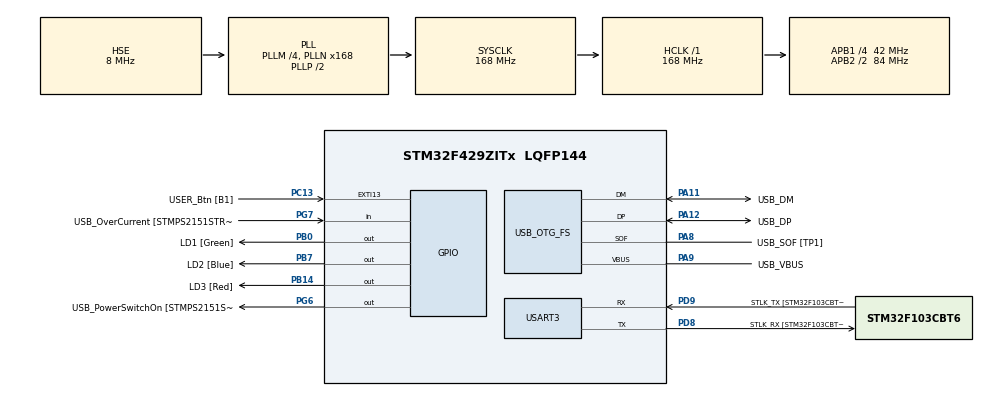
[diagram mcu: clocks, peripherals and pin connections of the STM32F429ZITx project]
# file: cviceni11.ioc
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Mcu.Family=STM32F4
Mcu.Name=STM32F429ZITx
Mcu.Package=LQFP144
NVIC.OTG_FS_IRQn=true\:0\:0\:false\:false\:true\:false\:true\:true
NVIC.PriorityGroup=NVIC_PRIORITYGROUP_4
PA1.GPIO_Label=RMII_REF_CLK [LAN8742A-CZ-TR_REFCLK0]
PA1.Signal=ETH_REF_CLK
PA10.GPIO_Label=USB_ID
PA10.Signal=USB_OTG_FS_ID
PA11.GPIO_Label=USB_DM
PA11.Mode=Device_Only
PA11.Signal=USB_OTG_FS_DM
PA12.GPIO_Label=USB_DP
PA12.Mode=Device_Only
PA12.Signal=USB_OTG_FS_DP
PA13.GPIO_Label=TMS
PA13.Mode=Serial_Wire
PA13.Signal=SYS_JTMS-SWDIO
PA14.GPIO_Label=TCK
PA14.Mode=Serial_Wire
PA14.Signal=SYS_JTCK-SWCLK
PA2.GPIO_Label=RMII_MDIO [LAN8742A-CZ-TR_MDIO]
PA2.Signal=ETH_MDIO
PA7.GPIO_Label=RMII_CRS_DV [LAN8742A-CZ-TR_CRS_DV]
PA7.Signal=ETH_CRS_DV
PA8.GPIO_Label=USB_SOF [TP1]
PA8.Mode=Activate_SOF_FS
PA8.Signal=USB_OTG_FS_SOF
PA9.GPIO_Label=USB_VBUS
PA9.Mode=Activate_VBUS
PA9.Signal=USB_OTG_FS_VBUS
PB0.GPIO_Label=LD1 [Green]
PB0.Signal=GPIO_Output
PB13.GPIO_Label=RMII_TXD1 [LAN8742A-CZ-TR_TXD1]
PB13.Signal=ETH_TXD1
PB14.GPIO_Label=LD3 [Red]
PB14.Signal=GPIO_Output
PB7.GPIO_Label=LD2 [Blue]
PB7.Signal=GPIO_Output
PC1.GPIO_Label=RMII_MDC [LAN8742A-CZ-TR_MDC]
PC1.Signal=ETH_MDC
PC13.GPIO_Label=USER_Btn [B1]
PC13.GPIO_PuPd=GPIO_NOPULL
PC13.Signal=GPXTI13
PC14/OSC32_IN.Mode=LSE-External-Oscillator
PC14/OSC32_IN.Signal=RCC_OSC32_IN
PC15/OSC32_OUT.Mode=LSE-External-Oscillator
PC15/OSC32_OUT.Signal=RCC_OSC32_OUT
PC4.GPIO_Label=RMII_RXD0 [LAN8742A-CZ-TR_RXD0]
PC4.Signal=ETH_RXD0
PC5.GPIO_Label=RMII_RXD1 [LAN8742A-CZ-TR_RXD1]
PC5.Signal=ETH_RXD1
PD8.GPIO_Label=STLK_RX [STM32F103CBT6_PA3]
PD8.Mode=Asynchronous
PD8.Signal=USART3_TX
PD9.GPIO_Label=STLK_TX [STM32F103CBT6_PA2]
PD9.Mode=Asynchronous
PD9.Signal=USART3_RX
PG11.GPIO_Label=RMII_TX_EN [LAN8742A-CZ-TR_TXEN]
PG11.Signal=ETH_TX_EN
PG13.GPIO_Label=RMII_TXD0 [LAN8742A-CZ-TR_TXD0]
PG13.Signal=ETH_TXD0
PG6.GPIO_Label=USB_PowerSwitchOn [STMPS2151STR_EN]
PG6.Signal=GPIO_Output
PG7.GPIO_Label=USB_OverCurrent [STMPS2151STR_FAULT]
PG7.Signal=GPIO_Input
PH0/OSC_IN.GPIO_Label=MCO [STM32F103CBT6_PA8]
PH0/OSC_IN.Mode=HSE-External-Clock-Source
PH0/OSC_IN.Signal=RCC_OSC_IN
PH1/OSC_OUT.Mode=HSE-External-Clock-Source
PH1/OSC_OUT.Signal=RCC_OSC_OUT
ProjectManager.HeapSize=0x200
ProjectManager.StackSize=0x400
ProjectManager.TargetToolchain=STM32CubeIDE
RCC.48MHZClocksFreq_Value=48000000
RCC.AHBFreq_Value=168000000
RCC.APB1CLKDivider=RCC_HCLK_DIV4
RCC.APB1Freq_Value=42000000
RCC.APB1TimFreq_Value=84000000
RCC.APB2CLKDivider=RCC_HCLK_DIV2
RCC.APB2Freq_Value=84000000
RCC.APB2TimCLKDivider=2
RCC.APB2TimFreq_Value=168000000
RCC.CortexFreq_Value=168000000
RCC.HCLKFreq_Value=168000000
RCC.HSE_VALUE=8000000
RCC.HSI_VALUE=16000000
RCC.PLLM=4
RCC.PLLMUL=RCC_PLL_MUL9
RCC.PLLN=168
RCC.PLLQ=7
RCC.PRESCALERUSB=RCC_USBCLKSOURCE_PLL_DIV1_5
RCC.SYSCLKFreq_VALUE=168000000
RCC.SYSCLKSource=RCC_SYSCLKSOURCE_PLLCLK
RCC.SYSCLKSourceVirtual=RCC_SYSCLKSOURCE_PLLCLK
RCC.USBFreq_Value=48000000
RCC.VCOOutputFreq_Value=336000000
USART3.VirtualMode=VM_ASYNC
USB_DEVICE.CLASS_NAME_FS=HID
USB_DEVICE.VirtualMode-HID_FS=Hid
USB_DEVICE.VirtualModeFS=Hid_FS
USB_OTG_FS.VirtualMode=Device_Only
VP_USB_DEVICE_VS_USB_DEVICE_HID_FS.Mode=HID_FS
board=NUCLEO-F429ZI

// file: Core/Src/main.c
/* USER CODE BEGIN Header */
/**
  ******************************************************************************
  * @file           : main.c
  * @brief          : Main program body
  ******************************************************************************
  * @attention
  *
  * Copyright (c) 2023 STMicroelectronics.
  * All rights reserved.
  *
  * This software is licensed under terms that can be found in the LICENSE file
  * in the root directory of this software component.
  * If no LICENSE file comes with this software, it is provided AS-IS.
  *
  ******************************************************************************
  */
/* USER CODE END Header */
#include "main.h"
#include "usb_device.h"

/* USER CODE BEGIN Includes */
#include "usbd_hid.h"
#include <math.h>
/* USER CODE END Includes */

UART_HandleTypeDef huart3;

void SystemClock_Config(void);
static void MX_GPIO_Init(void);
static void MX_USART3_UART_Init(void);

/* USER CODE BEGIN 0 */
int step(int a, int b, int click) {

	uint8_t buff[4];
	buff[0] = click; // stiskni leve tlacitko
	buff[1] = (a); // posun X +10
	buff[2] = (b); // posun Y -3
	buff[3] = 0; // bez scrollu
	USBD_HID_SendReport(&hUsbDeviceFS, buff, sizeof(buff));
	HAL_Delay(USBD_HID_GetPollingInterval(&hUsbDeviceFS));
	return 0;

}

int circle(int ra) {
	int sx = 0;
	int sy = 0;
	int dx;
	int dy;
	for (uint8_t i = 0; i < 55; i++) {

		float phi = (i * 1.0 / 50) * (2 * M_PI);
		float x = ra * cosf(phi);
		float y = ra * sinf(phi);
		dx = (x - sx);
		dy = (y - sy);
		step(dx, dy, 0x01);
		sx += dx;
		sy += dy;
	}
	step(0, 0, 0x00);
	return 0;

}

int vline(int ra, int dir) {

	int sy = 0;
	int dy;
	for (uint8_t i = 0; i < ra; i++) {
		int y = i;
		dy = (y - sy);
		if (dir == 1) {
			step(0, dy, 0x01);
		} else if (dir == -1) {
			step(0, -dy, 0x01);
		}
		sy += dy;
	}
	step(0, 0, 0x00);
	return 0;
}

int hcircle(int ra, int size1, int size2, int orient) {
	int sx = 0;
	int sy = 0;
	int dx;
	int dy;
	for (uint8_t i = size1; i < size2; i++) {

		float phi = orient * (i * 1.0 / 50) * (2 * M_PI);
		float x = ra * cosf(phi);
		float y = ra * sinf(phi);
		dx = (x - sx);
		dy = (y - sy);
		step(dx, dy, 0x01);
		sx += dx;
		sy += dy;
	}
	step(0, 0, 0x00);
	return 0;

}

/* USER CODE END 0 */

int main(void)
{

  /* MCU Configuration--------------------------------------------------------*/

  /* Reset of all peripherals, Initializes the Flash interface and the Systick. */
  HAL_Init();

  /* Configure the system clock */
  SystemClock_Config();

  /* Initialize all configured peripherals */
  MX_GPIO_Init();
  MX_USART3_UART_Init();
  MX_USB_DEVICE_Init();

  /* Infinite loop */
  while (1)
  {

    /* USER CODE BEGIN 3 */
		if (HAL_GPIO_ReadPin(USER_Btn_GPIO_Port, USER_Btn_Pin) == 1) {
			circle(100);
			step(-30, -50, 0x00);
			circle(10);
			step(-60, 0, 0x00);
			circle(10);
			step(25, 10, 0x00);
			vline(80, 1);
			step(60, -100, 0x00);
			hcircle(100, 32, 44, -1);

		}
  }
  /* USER CODE END 3 */
}

void SystemClock_Config(void)
{
  RCC_OscInitTypeDef RCC_OscInitStruct = {0};
  RCC_ClkInitTypeDef RCC_ClkInitStruct = {0};

  /** Configure the main internal regulator output voltage
  */
  __HAL_RCC_PWR_CLK_ENABLE();
  __HAL_PWR_VOLTAGESCALING_CONFIG(PWR_REGULATOR_VOLTAGE_SCALE1);

  /** Initializes the RCC Oscillators according to the specified parameters
  * in the RCC_OscInitTypeDef structure.
  */
  RCC_OscInitStruct.OscillatorType = RCC_OSCILLATORTYPE_HSE;
  RCC_OscInitStruct.HSEState = RCC_HSE_BYPASS;
  RCC_OscInitStruct.PLL.PLLState = RCC_PLL_ON;
  RCC_OscInitStruct.PLL.PLLSource = RCC_PLLSOURCE_HSE;
  RCC_OscInitStruct.PLL.PLLM = 4;
  RCC_OscInitStruct.PLL.PLLN = 168;
  RCC_OscInitStruct.PLL.PLLP = RCC_PLLP_DIV2;
  RCC_OscInitStruct.PLL.PLLQ = 7;
  if (HAL_RCC_OscConfig(&RCC_OscInitStruct) != HAL_OK)
  {
    Error_Handler();
  }

  /** Initializes the CPU, AHB and APB buses clocks
  */
  RCC_ClkInitStruct.ClockType = RCC_CLOCKTYPE_HCLK|RCC_CLOCKTYPE_SYSCLK
                              |RCC_CLOCKTYPE_PCLK1|RCC_CLOCKTYPE_PCLK2;
  RCC_ClkInitStruct.SYSCLKSource = RCC_SYSCLKSOURCE_PLLCLK;
  RCC_ClkInitStruct.AHBCLKDivider = RCC_SYSCLK_DIV1;
  RCC_ClkInitStruct.APB1CLKDivider = RCC_HCLK_DIV4;
  RCC_ClkInitStruct.APB2CLKDivider = RCC_HCLK_DIV2;

  if (HAL_RCC_ClockConfig(&RCC_ClkInitStruct, FLASH_LATENCY_5) != HAL_OK)
  {
    Error_Handler();
  }
}

static void MX_USART3_UART_Init(void)
{

  huart3.Instance = USART3;
  huart3.Init.BaudRate = 115200;
  huart3.Init.WordLength = UART_WORDLENGTH_8B;
  huart3.Init.StopBits = UART_STOPBITS_1;
  huart3.Init.Parity = UART_PARITY_NONE;
  huart3.Init.Mode = UART_MODE_TX_RX;
  huart3.Init.HwFlowCtl = UART_HWCONTROL_NONE;
  huart3.Init.OverSampling = UART_OVERSAMPLING_16;
  if (HAL_UART_Init(&huart3) != HAL_OK)
  {
    Error_Handler();
  }

}

static void MX_GPIO_Init(void)
{
  GPIO_InitTypeDef GPIO_InitStruct = {0};

  /* GPIO Ports Clock Enable */
  __HAL_RCC_GPIOC_CLK_ENABLE();
  __HAL_RCC_GPIOH_CLK_ENABLE();
  __HAL_RCC_GPIOA_CLK_ENABLE();
  __HAL_RCC_GPIOB_CLK_ENABLE();
  __HAL_RCC_GPIOD_CLK_ENABLE();
  __HAL_RCC_GPIOG_CLK_ENABLE();

  /*Configure GPIO pin Output Level */
  HAL_GPIO_WritePin(GPIOB, LD1_Pin|LD3_Pin|LD2_Pin, GPIO_PIN_RESET);

  /*Configure GPIO pin Output Level */
  HAL_GPIO_WritePin(USB_PowerSwitchOn_GPIO_Port, USB_PowerSwitchOn_Pin, GPIO_PIN_RESET);

  /*Configure GPIO pin : USER_Btn_Pin */
  GPIO_InitStruct.Pin = USER_Btn_Pin;
  GPIO_InitStruct.Mode = GPIO_MODE_IT_RISING;
  GPIO_InitStruct.Pull = GPIO_NOPULL;
  HAL_GPIO_Init(USER_Btn_GPIO_Port, &GPIO_InitStruct);

  /*Configure GPIO pins : RMII_MDC_Pin RMII_RXD0_Pin RMII_RXD1_Pin */
  GPIO_InitStruct.Pin = RMII_MDC_Pin|RMII_RXD0_Pin|RMII_RXD1_Pin;
  GPIO_InitStruct.Mode = GPIO_MODE_AF_PP;
  GPIO_InitStruct.Pull = GPIO_NOPULL;
  GPIO_InitStruct.Speed = GPIO_SPEED_FREQ_VERY_HIGH;
  GPIO_InitStruct.Alternate = GPIO_AF11_ETH;
  HAL_GPIO_Init(GPIOC, &GPIO_InitStruct);

  /*Configure GPIO pins : RMII_REF_CLK_Pin RMII_MDIO_Pin RMII_CRS_DV_Pin */
  GPIO_InitStruct.Pin = RMII_REF_CLK_Pin|RMII_MDIO_Pin|RMII_CRS_DV_Pin;
  GPIO_InitStruct.Mode = GPIO_MODE_AF_PP;
  GPIO_InitStruct.Pull = GPIO_NOPULL;
  GPIO_InitStruct.Speed = GPIO_SPEED_FREQ_VERY_HIGH;
  GPIO_InitStruct.Alternate = GPIO_AF11_ETH;
  HAL_GPIO_Init(GPIOA, &GPIO_InitStruct);

  /*Configure GPIO pins : LD1_Pin LD3_Pin LD2_Pin */
  GPIO_InitStruct.Pin = LD1_Pin|LD3_Pin|LD2_Pin;
  GPIO_InitStruct.Mode = GPIO_MODE_OUTPUT_PP;
  GPIO_InitStruct.Pull = GPIO_NOPULL;
  GPIO_InitStruct.Speed = GPIO_SPEED_FREQ_LOW;
  HAL_GPIO_Init(GPIOB, &GPIO_InitStruct);

  /*Configure GPIO pin : RMII_TXD1_Pin */
  GPIO_InitStruct.Pin = RMII_TXD1_Pin;
  GPIO_InitStruct.Mode = GPIO_MODE_AF_PP;
  GPIO_InitStruct.Pull = GPIO_NOPULL;
  GPIO_InitStruct.Speed = GPIO_SPEED_FREQ_VERY_HIGH;
  GPIO_InitStruct.Alternate = GPIO_AF11_ETH;
  HAL_GPIO_Init(RMII_TXD1_GPIO_Port, &GPIO_InitStruct);

  /*Configure GPIO pin : USB_PowerSwitchOn_Pin */
  GPIO_InitStruct.Pin = USB_PowerSwitchOn_Pin;
  GPIO_InitStruct.Mode = GPIO_MODE_OUTPUT_PP;
  GPIO_InitStruct.Pull = GPIO_NOPULL;
  GPIO_InitStruct.Speed = GPIO_SPEED_FREQ_LOW;
  HAL_GPIO_Init(USB_PowerSwitchOn_GPIO_Port, &GPIO_InitStruct);

  /*Configure GPIO pin : USB_OverCurrent_Pin */
  GPIO_InitStruct.Pin = USB_OverCurrent_Pin;
  GPIO_InitStruct.Mode = GPIO_MODE_INPUT;
  GPIO_InitStruct.Pull = GPIO_NOPULL;
  HAL_GPIO_Init(USB_OverCurrent_GPIO_Port, &GPIO_InitStruct);

  /*Configure GPIO pins : RMII_TX_EN_Pin RMII_TXD0_Pin */
  GPIO_InitStruct.Pin = RMII_TX_EN_Pin|RMII_TXD0_Pin;
  GPIO_InitStruct.Mode = GPIO_MODE_AF_PP;
  GPIO_InitStruct.Pull = GPIO_NOPULL;
  GPIO_InitStruct.Speed = GPIO_SPEED_FREQ_VERY_HIGH;
  GPIO_InitStruct.Alternate = GPIO_AF11_ETH;
  HAL_GPIO_Init(GPIOG, &GPIO_InitStruct);

}

void Error_Handler(void)
{
  __disable_irq();
  while (1)
  {
  }
}
